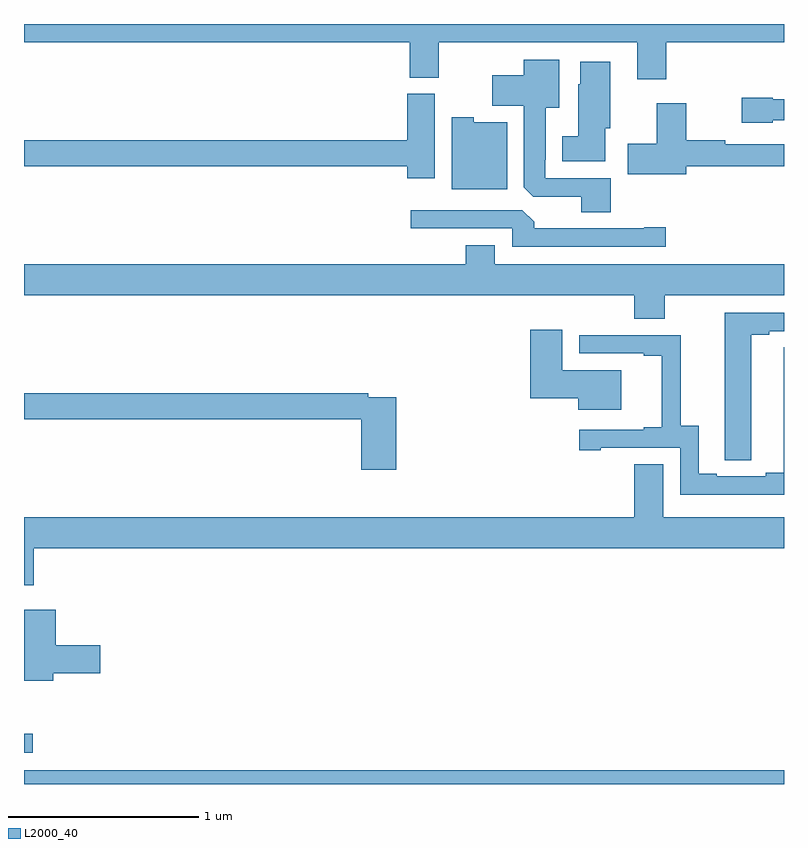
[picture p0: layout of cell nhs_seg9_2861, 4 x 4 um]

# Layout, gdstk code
import gdstk
lib = gdstk.Library(unit=1e-6, precision=1e-09)
def R(c, l, rs):  # rectangles x0, y0, x1, y1
    for r in rs: c.add(gdstk.rectangle(r[:2], r[2:], *l))
def P(c, l, *ps):  # polygons
    for p in ps: c.add(gdstk.Polygon(p, *l))
L2000_40 = (2000, 40)

nhs_seg9_2861 = lib.new_cell('nhs_seg9_2861')
R(nhs_seg9_2861, L2000_40, [(275,1208.5,279,1208.572), (275,1208.664,275.047,1208.765)])
P(nhs_seg9_2861, L2000_40, [(278.381,1212.404),(279,1212.404),(279,1212.5),(275,1212.5),(275,1212.404),(277.031,1212.404),(277.031,1212.217),(277.183,1212.217),(277.183,1212.404),(278.228,1212.404),(278.228,1212.21),(278.381,1212.21)],
  [(278.087,1211.688),(277.743,1211.688),(277.743,1211.785),(277.747,1211.785),(277.747,1212.059),(277.816,1212.059),(277.816,1212.313),(277.631,1212.313),(277.631,1212.229),(277.464,1212.229),(277.464,1212.071),(277.631,1212.071),(277.631,1211.641),(277.68,1211.592),(277.934,1211.592),(277.934,1211.509),(278.087,1211.509)],
  [(278.059,1211.952),(278.086,1211.952),(278.086,1212.301),(277.928,1212.301),(277.928,1212.183),(277.916,1212.183),(277.916,1211.908),(277.832,1211.908),(277.832,1211.777),(278.059,1211.777)],
  [(277.162,1212.132),(277.016,1212.132),(277.016,1211.888),(275,1211.888),(275,1211.752),(277.016,1211.752),(277.016,1211.688),(277.162,1211.688)],
  [(278.94,1211.994),(279,1211.994),(279,1212.103),(278.94,1212.103),(278.94,1212.111),(278.778,1212.111),(278.778,1211.981),(278.94,1211.981)],
  [(278.485,1211.752),(279,1211.752),(279,1211.868),(278.69,1211.868),(278.69,1211.888),(278.485,1211.888),(278.485,1212.082),(278.33,1212.082),(278.33,1211.871),(278.178,1211.871),(278.178,1211.708),(278.485,1211.708)],
  [(277.543,1211.983),(277.368,1211.983),(277.368,1212.01),(277.25,1212.01),(277.25,1211.63),(277.543,1211.63)],
  [(278.377,1211.429),(278.264,1211.429),(278.264,1211.424),(277.685,1211.424),(277.685,1211.458),(277.623,1211.52),(277.035,1211.52),(277.035,1211.424),(277.569,1211.424),(277.569,1211.328),(278.377,1211.328)],
  [(278.373,1211.072),(279,1211.072),(279,1211.236),(277.477,1211.236),(277.477,1211.335),(277.325,1211.335),(277.325,1211.236),(275,1211.236),(275,1211.072),(278.213,1211.072),(278.213,1210.948),(278.373,1210.948)],
  [(278.827,1210.864),(278.923,1210.864),(278.923,1210.884),(279,1210.884),(279,1210.98),(278.687,1210.98),(278.687,1210.312),(278.688,1210.312),(278.688,1210.204),(278.827,1210.204)],
  [(278.143,1210.678),(277.834,1210.678),(277.834,1210.891),(277.664,1210.891),(277.664,1210.529),(277.916,1210.529),(277.916,1210.469),(278.143,1210.469)],
  [(279,1210.799),(278.999,1210.799),(278.999,1210.139),(278.903,1210.139),(278.903,1210.119),(278.647,1210.119),(278.647,1210.134),(278.551,1210.134),(278.551,1210.385),(278.457,1210.385),(278.457,1210.863),(277.923,1210.863),(277.923,1210.767),(278.261,1210.767),(278.261,1210.755),(278.357,1210.755),(278.357,1210.378),(278.261,1210.378),(278.261,1210.365),(277.923,1210.365),(277.923,1210.257),(278.035,1210.257),(278.035,1210.269),(278.454,1210.269),(278.454,1210.023),(279,1210.023)],
  [(276.959,1210.536),(276.812,1210.536),(276.812,1210.556),(275,1210.556),(275,1210.42),(276.776,1210.42),(276.776,1210.155),(276.959,1210.155)],
  [(275.051,1209.74),(279,1209.74),(279,1209.904),(278.365,1209.904),(278.365,1210.184),(278.213,1210.184),(278.213,1209.904),(275,1209.904),(275,1209.546),(275.051,1209.546)],
  [(275.155,1209.083),(275.401,1209.083),(275.401,1209.23),(275.168,1209.23),(275.168,1209.418),(275,1209.418),(275,1209.044),(275.155,1209.044)])

lib.write_gds('nhs_seg9_2861.gds')
